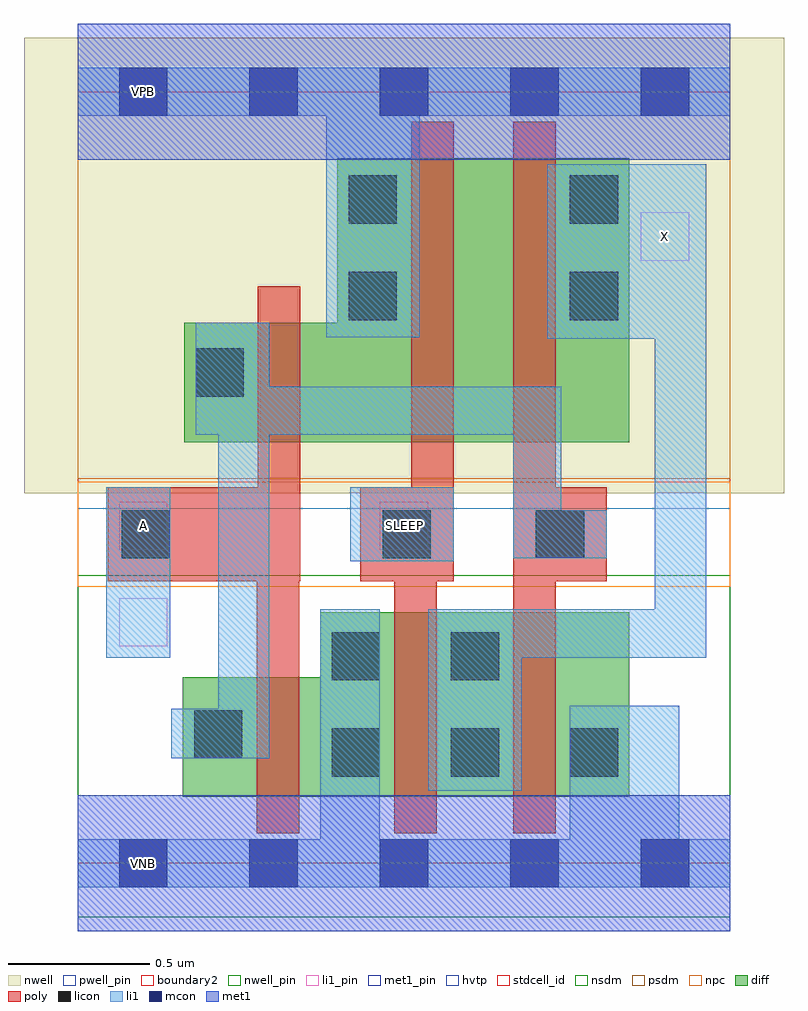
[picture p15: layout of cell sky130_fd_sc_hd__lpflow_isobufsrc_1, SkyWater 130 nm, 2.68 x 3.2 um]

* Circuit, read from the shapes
.subckt sky130_fd_sc_hd__lpflow_isobufsrc_1 A SLEEP VGND VNB VPB VPWR X
XM1 VGND A n1 VNB sky130_fd_pr__nfet_01v8 w=0.42 l=0.15
XM2 X SLEEP VGND VNB sky130_fd_pr__nfet_01v8 w=0.65 l=0.15
XM3 VGND n1 X VNB sky130_fd_pr__nfet_01v8 w=0.65 l=0.15
XM4 VPWR A n1 VPB sky130_fd_pr__pfet_01v8_hvt w=0.42 l=0.15
XM5 n2 SLEEP VPWR VPB sky130_fd_pr__pfet_01v8_hvt w=1 l=0.15
XM6 X n1 n2 VPB sky130_fd_pr__pfet_01v8_hvt w=1 l=0.15
.ends

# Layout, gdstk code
import gdstk
lib = gdstk.Library(unit=1e-6, precision=1e-09)
def R(c, l, rs):  # rectangles x0, y0, x1, y1
    for r in rs: c.add(gdstk.rectangle(r[:2], r[2:], *l))
def A(c, l, x, y, w, h, nx, ny, dx, dy):  # array of equal rectangles
    R(c, l, [(x+i*dx, y+j*dy, x+i*dx+w, y+j*dy+h) for i in range(nx) for j in range(ny)])
def P(c, l, *ps):  # polygons
    for p in ps: c.add(gdstk.Polygon(p, *l))
nwell_pin = (64, 16)
nwell = (64, 20)
diff = (65, 20)
poly = (66, 20)
licon = (66, 44)
li1_pin = (67, 16)
li1 = (67, 20)
mcon = (67, 44)
met1_pin = (68, 16)
met1 = (68, 20)
hvtp = (78, 44)
stdcell_id = (81, 4)
nsdm = (93, 44)
psdm = (94, 20)
npc = (95, 20)
pwell_pin = (122, 16)
boundary2 = (236, 0)

sky130_fd_sc_hd__lpflow_ = lib.new_cell('sky130_fd_sc_hd__lpflow_isobufsrc_1')
R(sky130_fd_sc_hd__lpflow_, nwell_pin, [(0.145,2.635,0.315,2.805)])
R(sky130_fd_sc_hd__lpflow_, nwell, [(-0.19,1.305,2.49,2.91)])
P(sky130_fd_sc_hd__lpflow_, diff, [(1.945,0.885),(0.855,0.885),(0.855,0.655),(0.37,0.655),(0.37,0.235),(1.945,0.235)],
  [(1.945,2.485),(0.915,2.485),(0.915,1.905),(0.375,1.905),(0.375,1.485),(1.945,1.485)])
P(sky130_fd_sc_hd__lpflow_, poly, [(1.865,1.325),(1.685,1.325),(1.685,2.615),(1.535,2.615),(1.535,0.105),(1.685,0.105),(1.685,0.995),(1.865,0.995)],
  [(1.325,2.615),(1.175,2.615),(1.175,1.325),(0.995,1.325),(0.995,0.995),(1.115,0.995),(1.115,0.105),(1.265,0.105),(1.265,0.995),(1.325,0.995)],
  [(0.785,2.035),(0.635,2.035),(0.635,1.325),(0.105,1.325),(0.105,0.995),(0.63,0.995),(0.63,0.105),(0.78,0.105),(0.78,0.995),(0.785,0.995)])
A(sky130_fd_sc_hd__lpflow_, licon, 0.895, 0.305, 0.17, 0.17, 3, 1, 0.42, 0)
R(sky130_fd_sc_hd__lpflow_, licon, [(0.41,0.37,0.58,0.54), (0.895,0.645,1.065,0.815), (1.315,0.645,1.485,0.815), (0.155,1.075,0.325,1.245), (1.075,1.075,1.245,1.245), (1.615,1.075,1.785,1.245), (0.415,1.645,0.585,1.815), (0.955,1.915,1.125,2.085), (1.735,1.915,1.905,2.085), (0.955,2.255,1.125,2.425), (1.735,2.255,1.905,2.425)])
R(sky130_fd_sc_hd__lpflow_, li1_pin, [(0.145,0.765,0.315,0.935), (0.145,1.105,0.315,1.275), (1.065,1.105,1.235,1.275), (1.985,2.125,2.155,2.295)])
R(sky130_fd_sc_hd__lpflow_, li1, [(0.1,0.725,0.325,1.325), (0.96,1.065,1.325,1.325)])
P(sky130_fd_sc_hd__lpflow_, li1, [(2.3,0.085),(2.12,0.085),(2.12,0.555),(1.735,0.555),(1.735,0.085),(1.065,0.085),(1.065,0.895),(0.855,0.895),(0.855,0.085),(0,0.085),(0,-0.085),(2.3,-0.085)],
  [(2.3,2.805),(0,2.805),(0,2.635),(0.875,2.635),(0.875,1.855),(1.205,1.855),(1.205,2.635),(2.3,2.635)],
  [(2.215,2.465),(1.655,2.465),(1.655,1.85),(2.035,1.85),(2.035,0.895),(1.235,0.895),(1.235,0.255),(1.565,0.255),(1.565,0.725),(2.215,0.725)],
  [(1.865,1.245),(1.705,1.245),(1.705,1.68),(0.675,1.68),(0.675,1.905),(0.415,1.905),(0.415,1.51),(0.495,1.51),(0.495,0.545),(0.33,0.545),(0.33,0.37),(0.675,0.37),(0.675,1.51),(1.535,1.51),(1.535,1.075),(1.865,1.075)])
A(sky130_fd_sc_hd__lpflow_, mcon, 0.145, -0.085, 0.17, 0.17, 5, 2, 0.46, 2.72)
R(sky130_fd_sc_hd__lpflow_, met1_pin, [(0.145,-0.085,0.315,0.085), (0.145,2.635,0.315,2.805)])
R(sky130_fd_sc_hd__lpflow_, hvtp, [(0,1.25,2.3,2.72)])
R(sky130_fd_sc_hd__lpflow_, stdcell_id, [(0,0,2.3,2.72)])
R(sky130_fd_sc_hd__lpflow_, nsdm, [(0,-0.19,2.3,1.015)])
R(sky130_fd_sc_hd__lpflow_, psdm, [(0,1.355,2.3,2.91)])
R(sky130_fd_sc_hd__lpflow_, npc, [(0,0.975,2.3,1.345)])
R(sky130_fd_sc_hd__lpflow_, pwell_pin, [(0.145,-0.085,0.315,0.085)])
R(sky130_fd_sc_hd__lpflow_, boundary2, [(0,0,2.3,2.72)])
sky130_fd_sc_hd__lpflow_.add(gdstk.FlexPath([(0,2.72),(2.3,2.72)], 0.48, ends="flush", simple_path=True, layer=68, datatype=20))  # met1
sky130_fd_sc_hd__lpflow_.add(gdstk.FlexPath([(0,0),(2.3,0)], 0.48, ends="flush", simple_path=True, layer=68, datatype=20))  # met1
sky130_fd_sc_hd__lpflow_.add(gdstk.Label('A', (0.23,1.19), layer=67, texttype=5))
sky130_fd_sc_hd__lpflow_.add(gdstk.Label('X', (2.07,2.21), layer=67, texttype=5))
sky130_fd_sc_hd__lpflow_.add(gdstk.Label('SLEEP', (1.15,1.19), layer=67, texttype=5))
sky130_fd_sc_hd__lpflow_.add(gdstk.Label('VPB', (0.23,2.72), layer=64, texttype=5))
sky130_fd_sc_hd__lpflow_.add(gdstk.Label('VNB', (0.23,0), layer=64, texttype=59))
sky130_fd_sc_hd__lpflow_.add(gdstk.Label('VGND', (0.23,0), layer=68, texttype=5))
sky130_fd_sc_hd__lpflow_.add(gdstk.Label('VPWR', (0.23,2.72), layer=68, texttype=5))
sky130_fd_sc_hd__lpflow_.add(gdstk.Label('lpflow_isobufsrc_1', (0,0), layer=83, texttype=44))

lib.write_gds('sky130_fd_sc_hd__lpflow_isobufsrc_1.gds')
